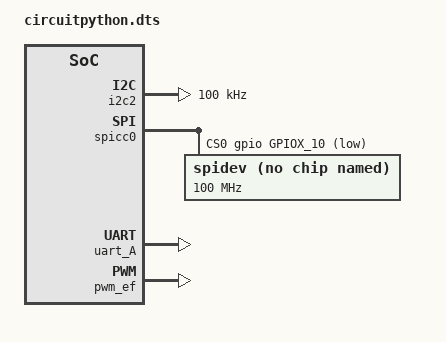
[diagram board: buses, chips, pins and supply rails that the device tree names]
/dts-v1/;
/plugin/;

#include <dt-bindings/gpio/meson-g12a-gpio.h>
#include <dt-bindings/gpio/gpio.h>

/ {
	fragment@0 {
		target = <&i2c2>;

		__overlay__ {
			status = "okay";
			clock-frequency = <100000>;
		};
	};

	fragment@1 {
		target = <&spicc0>;

		__overlay__ {
			status = "okay";
			#address-cells =<1>;
			#size-cells = <0>;
			num_chipselect = <1>;
			cs-gpios = <&gpio GPIOX_10 GPIO_ACTIVE_LOW>;

			spidev: spidev@0 {
				status = "okay";
				compatible = "odroid,spidev";
				reg = <0>;
				spi-max-frequency = <100000000>;
			};
		};
	};

	fragment@2 {
		target = <&uart_A>;

		__overlay__ {
			status = "okay";
		};
	};

	fragment@3 {
		target = <&pwm_ef>;

		__overlay__ {
			status = "okay";
			pinctrl-names = "default","gpio_periphs";
			pinctrl-0 = <&pwm_e_pins &pwm_f_x_pins>;
			pinctrl-1 = <&pwmef_to_gpios>;
			clocks = <&xtal>,
				<&xtal>,
				<&xtal>,
				<&xtal>;
			clock-names = "clkin0",
				"clkin1",
				"clkin2",
				"clkin3";
		};
	};
};
